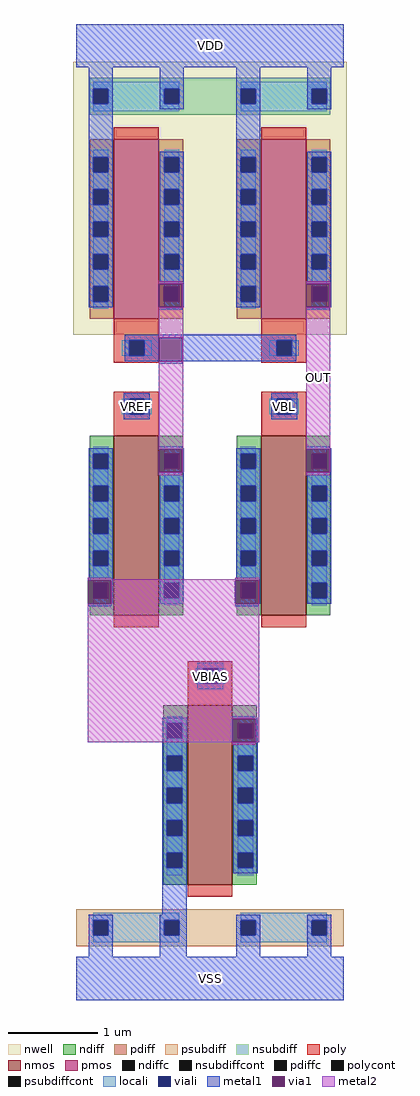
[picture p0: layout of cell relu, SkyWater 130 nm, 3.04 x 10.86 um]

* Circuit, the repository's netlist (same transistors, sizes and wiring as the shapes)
* ReLU 5T OTA Schematic Netlist (for LVS)
.subckt relu VBL VREF OUT VBIAS VDD VSS
XM3 node_A node_A VDD VDD sky130_fd_pr__pfet_01v8 L=0.5 W=2 nf=1 mult=1
XM4 OUT node_A VDD VDD sky130_fd_pr__pfet_01v8 L=0.5 W=2 nf=1 mult=1
XM1 node_A VREF TAIL VSS sky130_fd_pr__nfet_01v8 L=0.5 W=2 nf=1 mult=1
XM2 OUT VBL TAIL VSS sky130_fd_pr__nfet_01v8 L=0.5 W=2 nf=1 mult=1
XM5 TAIL VBIAS VSS VSS sky130_fd_pr__nfet_01v8 L=0.5 W=2 nf=1 mult=1
.ends relu

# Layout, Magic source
magic
tech sky130B
<< nwell >>
rect -3 740 301 1044
<< nmos >>
rect 42 428 92 628
rect 206 428 256 628
rect 124 128 174 328
<< pmos >>
rect 42 758 92 958
rect 206 758 256 958
<< ndiff >>
rect 15 608 42 628
rect 15 591 19 608
rect 36 591 42 608
rect 15 572 42 591
rect 15 555 19 572
rect 36 555 42 572
rect 15 536 42 555
rect 15 519 19 536
rect 36 519 42 536
rect 15 500 42 519
rect 15 483 19 500
rect 36 483 42 500
rect 15 464 42 483
rect 15 447 19 464
rect 36 447 42 464
rect 15 428 42 447
rect 92 608 119 628
rect 92 591 98 608
rect 115 591 119 608
rect 92 572 119 591
rect 92 555 98 572
rect 115 555 119 572
rect 92 536 119 555
rect 92 519 98 536
rect 115 519 119 536
rect 92 500 119 519
rect 92 483 98 500
rect 115 483 119 500
rect 92 464 119 483
rect 92 447 98 464
rect 115 447 119 464
rect 92 428 119 447
rect 179 608 206 628
rect 179 591 183 608
rect 200 591 206 608
rect 179 572 206 591
rect 179 555 183 572
rect 200 555 206 572
rect 179 536 206 555
rect 179 519 183 536
rect 200 519 206 536
rect 179 500 206 519
rect 179 483 183 500
rect 200 483 206 500
rect 179 464 206 483
rect 179 447 183 464
rect 200 447 206 464
rect 179 428 206 447
rect 256 608 283 628
rect 256 591 262 608
rect 279 591 283 608
rect 256 572 283 591
rect 256 555 262 572
rect 279 555 283 572
rect 256 536 283 555
rect 256 519 262 536
rect 279 519 283 536
rect 256 500 283 519
rect 256 483 262 500
rect 279 483 283 500
rect 256 464 283 483
rect 256 447 262 464
rect 279 447 283 464
rect 256 428 283 447
rect 97 308 124 328
rect 97 291 101 308
rect 118 291 124 308
rect 97 272 124 291
rect 97 255 101 272
rect 118 255 124 272
rect 97 236 124 255
rect 97 219 101 236
rect 118 219 124 236
rect 97 200 124 219
rect 97 183 101 200
rect 118 183 124 200
rect 97 164 124 183
rect 97 147 101 164
rect 118 147 124 164
rect 97 128 124 147
rect 174 308 201 328
rect 174 291 180 308
rect 197 291 201 308
rect 174 272 201 291
rect 174 255 180 272
rect 197 255 201 272
rect 174 236 201 255
rect 174 219 180 236
rect 197 219 201 236
rect 174 200 201 219
rect 174 183 180 200
rect 197 183 201 200
rect 174 164 201 183
rect 174 147 180 164
rect 197 147 201 164
rect 174 128 201 147
<< pdiff >>
rect 15 938 42 958
rect 15 921 19 938
rect 36 921 42 938
rect 15 902 42 921
rect 15 885 19 902
rect 36 885 42 902
rect 15 866 42 885
rect 15 849 19 866
rect 36 849 42 866
rect 15 830 42 849
rect 15 813 19 830
rect 36 813 42 830
rect 15 794 42 813
rect 15 777 19 794
rect 36 777 42 794
rect 15 758 42 777
rect 92 938 119 958
rect 92 921 98 938
rect 115 921 119 938
rect 92 902 119 921
rect 92 885 98 902
rect 115 885 119 902
rect 92 866 119 885
rect 92 849 98 866
rect 115 849 119 866
rect 92 830 119 849
rect 92 813 98 830
rect 115 813 119 830
rect 92 794 119 813
rect 92 777 98 794
rect 115 777 119 794
rect 92 758 119 777
rect 179 938 206 958
rect 179 921 183 938
rect 200 921 206 938
rect 179 902 206 921
rect 179 885 183 902
rect 200 885 206 902
rect 179 866 206 885
rect 179 849 183 866
rect 200 849 206 866
rect 179 830 206 849
rect 179 813 183 830
rect 200 813 206 830
rect 179 794 206 813
rect 179 777 183 794
rect 200 777 206 794
rect 179 758 206 777
rect 256 938 283 958
rect 256 921 262 938
rect 279 921 283 938
rect 256 902 283 921
rect 256 885 262 902
rect 279 885 283 902
rect 256 866 283 885
rect 256 849 262 866
rect 279 849 283 866
rect 256 830 283 849
rect 256 813 262 830
rect 279 813 283 830
rect 256 794 283 813
rect 256 777 262 794
rect 279 777 283 794
rect 256 758 283 777
<< ndiffc >>
rect 19 591 36 608
rect 19 555 36 572
rect 19 519 36 536
rect 19 483 36 500
rect 19 447 36 464
rect 98 591 115 608
rect 98 555 115 572
rect 98 519 115 536
rect 98 483 115 500
rect 98 447 115 464
rect 183 591 200 608
rect 183 555 200 572
rect 183 519 200 536
rect 183 483 200 500
rect 183 447 200 464
rect 262 591 279 608
rect 262 555 279 572
rect 262 519 279 536
rect 262 483 279 500
rect 262 447 279 464
rect 101 291 118 308
rect 101 255 118 272
rect 101 219 118 236
rect 101 183 118 200
rect 101 147 118 164
rect 180 291 197 308
rect 180 255 197 272
rect 180 219 197 236
rect 180 183 197 200
rect 180 147 197 164
<< pdiffc >>
rect 19 921 36 938
rect 19 885 36 902
rect 19 849 36 866
rect 19 813 36 830
rect 19 777 36 794
rect 98 921 115 938
rect 98 885 115 902
rect 98 849 115 866
rect 98 813 115 830
rect 98 777 115 794
rect 183 921 200 938
rect 183 885 200 902
rect 183 849 200 866
rect 183 813 200 830
rect 183 777 200 794
rect 262 921 279 938
rect 262 885 279 902
rect 262 849 279 866
rect 262 813 279 830
rect 262 777 279 794
<< psubdiff >>
rect 0 89 298 101
rect 0 72 19 89
rect 36 72 98 89
rect 115 72 183 89
rect 200 72 262 89
rect 279 72 298 89
rect 0 60 298 72
<< nsubdiff >>
rect 15 1014 283 1026
rect 15 997 19 1014
rect 36 997 98 1014
rect 115 997 183 1014
rect 200 997 262 1014
rect 279 997 283 1014
rect 15 985 283 997
<< psubdiffcont >>
rect 19 72 36 89
rect 98 72 115 89
rect 183 72 200 89
rect 262 72 279 89
<< nsubdiffcont >>
rect 19 997 36 1014
rect 98 997 115 1014
rect 183 997 200 1014
rect 262 997 279 1014
<< poly >>
rect 42 958 92 971
rect 206 958 256 971
rect 42 734 92 758
rect 42 717 59 734
rect 76 717 92 734
rect 42 709 92 717
rect 206 734 256 758
rect 206 717 223 734
rect 240 717 256 734
rect 206 709 256 717
rect 42 669 92 677
rect 42 652 59 669
rect 76 652 92 669
rect 42 628 92 652
rect 206 669 256 677
rect 206 652 223 669
rect 240 652 256 669
rect 206 628 256 652
rect 42 415 92 428
rect 206 415 256 428
rect 124 369 174 377
rect 124 352 141 369
rect 158 352 174 369
rect 124 328 174 352
rect 124 115 174 128
<< polycont >>
rect 59 717 76 734
rect 223 717 240 734
rect 59 652 76 669
rect 223 652 240 669
rect 141 352 158 369
<< locali >>
rect 19 1014 115 1022
rect 36 997 98 1014
rect 19 989 115 997
rect 183 1014 279 1022
rect 200 997 262 1014
rect 183 989 279 997
rect 19 938 36 946
rect 19 902 36 921
rect 19 866 36 885
rect 19 830 36 849
rect 19 794 36 813
rect 19 769 36 777
rect 98 938 115 946
rect 98 902 115 921
rect 98 866 115 885
rect 98 830 115 849
rect 98 794 115 813
rect 98 769 115 777
rect 183 938 200 946
rect 183 902 200 921
rect 183 866 200 885
rect 183 830 200 849
rect 183 794 200 813
rect 183 769 200 777
rect 262 938 279 946
rect 262 902 279 921
rect 262 866 279 885
rect 262 830 279 849
rect 262 794 279 813
rect 262 769 279 777
rect 51 717 59 734
rect 76 717 84 734
rect 215 717 223 734
rect 240 717 248 734
rect 51 652 59 669
rect 76 652 84 669
rect 215 652 223 669
rect 240 652 248 669
rect 19 608 36 616
rect 19 572 36 591
rect 19 536 36 555
rect 19 500 36 519
rect 19 464 36 483
rect 19 439 36 447
rect 98 608 115 616
rect 98 572 115 591
rect 98 536 115 555
rect 98 500 115 519
rect 98 464 115 483
rect 98 439 115 447
rect 183 608 200 616
rect 183 572 200 591
rect 183 536 200 555
rect 183 500 200 519
rect 183 464 200 483
rect 183 439 200 447
rect 262 608 279 616
rect 262 572 279 591
rect 262 536 279 555
rect 262 500 279 519
rect 262 464 279 483
rect 262 439 279 447
rect 133 352 141 369
rect 158 352 166 369
rect 101 308 118 316
rect 101 272 118 291
rect 101 236 118 255
rect 101 200 118 219
rect 101 164 118 183
rect 101 139 118 147
rect 180 308 197 316
rect 180 272 197 291
rect 180 236 197 255
rect 180 200 197 219
rect 180 164 197 183
rect 180 139 197 147
rect 19 89 115 97
rect 36 72 98 89
rect 19 64 115 72
rect 183 89 279 97
rect 200 72 262 89
rect 183 64 279 72
<< viali >>
rect 19 997 36 1014
rect 98 997 115 1014
rect 183 997 200 1014
rect 262 997 279 1014
rect 19 921 36 938
rect 19 885 36 902
rect 19 849 36 866
rect 19 813 36 830
rect 19 777 36 794
rect 98 921 115 938
rect 98 885 115 902
rect 98 849 115 866
rect 98 813 115 830
rect 98 777 115 794
rect 183 921 200 938
rect 183 885 200 902
rect 183 849 200 866
rect 183 813 200 830
rect 183 777 200 794
rect 262 921 279 938
rect 262 885 279 902
rect 262 849 279 866
rect 262 813 279 830
rect 262 777 279 794
rect 59 717 76 734
rect 223 717 240 734
rect 59 652 76 669
rect 223 652 240 669
rect 19 591 36 608
rect 19 555 36 572
rect 19 519 36 536
rect 19 483 36 500
rect 19 447 36 464
rect 98 591 115 608
rect 98 555 115 572
rect 98 519 115 536
rect 98 483 115 500
rect 98 447 115 464
rect 183 591 200 608
rect 183 555 200 572
rect 183 519 200 536
rect 183 483 200 500
rect 183 447 200 464
rect 262 591 279 608
rect 262 555 279 572
rect 262 519 279 536
rect 262 483 279 500
rect 262 447 279 464
rect 141 352 158 369
rect 101 291 118 308
rect 101 255 118 272
rect 101 219 118 236
rect 101 183 118 200
rect 101 147 118 164
rect 180 291 197 308
rect 180 255 197 272
rect 180 219 197 236
rect 180 183 197 200
rect 180 147 197 164
rect 19 72 36 89
rect 98 72 115 89
rect 183 72 200 89
rect 262 72 279 89
<< metal1 >>
rect 0 1038 298 1086
rect 14 1014 41 1038
rect 14 997 19 1014
rect 36 997 41 1014
rect 14 938 41 997
rect 93 1014 120 1038
rect 93 997 98 1014
rect 115 997 120 1014
rect 93 991 120 997
rect 178 1014 205 1038
rect 178 997 183 1014
rect 200 997 205 1014
rect 14 921 19 938
rect 36 921 41 938
rect 14 902 41 921
rect 14 885 19 902
rect 36 885 41 902
rect 14 866 41 885
rect 14 849 19 866
rect 36 849 41 866
rect 14 830 41 849
rect 14 813 19 830
rect 36 813 41 830
rect 14 794 41 813
rect 93 938 120 944
rect 93 921 98 938
rect 115 921 120 938
rect 93 902 120 921
rect 93 885 98 902
rect 115 885 120 902
rect 93 866 120 885
rect 93 849 98 866
rect 115 849 120 866
rect 93 830 120 849
rect 93 813 98 830
rect 115 813 120 830
rect 93 800 120 813
rect 14 777 19 794
rect 36 777 41 794
rect 14 771 41 777
rect 92 797 120 800
rect 118 771 120 797
rect 178 938 205 997
rect 257 1014 284 1038
rect 257 997 262 1014
rect 279 997 284 1014
rect 257 991 284 997
rect 178 921 183 938
rect 200 921 205 938
rect 178 902 205 921
rect 178 885 183 902
rect 200 885 205 902
rect 178 866 205 885
rect 178 849 183 866
rect 200 849 205 866
rect 178 830 205 849
rect 178 813 183 830
rect 200 813 205 830
rect 178 794 205 813
rect 257 938 284 944
rect 257 921 262 938
rect 279 921 284 938
rect 257 902 284 921
rect 257 885 262 902
rect 279 885 284 902
rect 257 866 284 885
rect 257 849 262 866
rect 279 849 284 866
rect 257 830 284 849
rect 257 813 262 830
rect 279 813 284 830
rect 257 800 284 813
rect 178 777 183 794
rect 200 777 205 794
rect 178 771 205 777
rect 256 797 284 800
rect 282 771 284 797
rect 92 768 118 771
rect 256 768 282 771
rect 54 737 245 740
rect 54 734 92 737
rect 54 717 59 734
rect 76 717 92 734
rect 54 711 92 717
rect 118 734 245 737
rect 118 717 223 734
rect 240 717 245 734
rect 118 711 245 717
rect 92 708 118 711
rect 53 669 82 675
rect 53 652 59 669
rect 76 652 82 669
rect 53 646 82 652
rect 217 669 246 675
rect 217 652 223 669
rect 240 652 246 669
rect 217 646 246 652
rect 92 614 118 616
rect 256 614 282 616
rect 14 608 41 614
rect 14 591 19 608
rect 36 591 41 608
rect 14 572 41 591
rect 92 613 120 614
rect 118 587 120 613
rect 92 584 120 587
rect 14 555 19 572
rect 36 555 41 572
rect 14 536 41 555
rect 14 519 19 536
rect 36 519 41 536
rect 14 500 41 519
rect 14 483 19 500
rect 36 483 41 500
rect 14 470 41 483
rect 13 467 41 470
rect 39 441 41 467
rect 93 572 120 584
rect 93 555 98 572
rect 115 555 120 572
rect 93 536 120 555
rect 93 519 98 536
rect 115 519 120 536
rect 93 500 120 519
rect 93 483 98 500
rect 115 483 120 500
rect 93 464 120 483
rect 178 608 205 614
rect 178 591 183 608
rect 200 591 205 608
rect 178 572 205 591
rect 256 613 284 614
rect 282 587 284 613
rect 256 584 284 587
rect 178 555 183 572
rect 200 555 205 572
rect 178 536 205 555
rect 178 519 183 536
rect 200 519 205 536
rect 178 500 205 519
rect 178 483 183 500
rect 200 483 205 500
rect 178 470 205 483
rect 93 447 98 464
rect 115 447 120 464
rect 93 441 120 447
rect 177 467 205 470
rect 203 441 205 467
rect 257 572 284 584
rect 257 555 262 572
rect 279 555 284 572
rect 257 536 284 555
rect 257 519 262 536
rect 279 519 284 536
rect 257 500 284 519
rect 257 483 262 500
rect 279 483 284 500
rect 257 464 284 483
rect 257 447 262 464
rect 279 447 284 464
rect 257 441 284 447
rect 13 438 39 441
rect 177 438 203 441
rect 135 369 164 375
rect 135 352 141 369
rect 158 352 164 369
rect 135 346 164 352
rect 174 314 200 316
rect 96 308 123 314
rect 96 291 101 308
rect 118 291 123 308
rect 96 272 123 291
rect 174 313 202 314
rect 200 287 202 313
rect 174 284 202 287
rect 96 255 101 272
rect 118 255 123 272
rect 96 236 123 255
rect 96 219 101 236
rect 118 219 123 236
rect 96 200 123 219
rect 96 183 101 200
rect 118 183 123 200
rect 96 164 123 183
rect 96 147 101 164
rect 118 147 123 164
rect 96 95 123 147
rect 175 272 202 284
rect 175 255 180 272
rect 197 255 202 272
rect 175 236 202 255
rect 175 219 180 236
rect 197 219 202 236
rect 175 200 202 219
rect 175 183 180 200
rect 197 183 202 200
rect 175 164 202 183
rect 175 147 180 164
rect 197 147 202 164
rect 175 141 202 147
rect 14 89 41 95
rect 14 72 19 89
rect 36 72 41 89
rect 14 48 41 72
rect 93 89 123 95
rect 93 72 98 89
rect 115 72 123 89
rect 93 48 123 72
rect 178 89 205 95
rect 178 72 183 89
rect 200 72 205 89
rect 178 48 205 72
rect 257 89 284 95
rect 257 72 262 89
rect 279 72 284 89
rect 257 48 284 72
rect 0 0 298 48
<< via1 >>
rect 92 794 118 797
rect 92 777 98 794
rect 98 777 115 794
rect 115 777 118 794
rect 92 771 118 777
rect 256 794 282 797
rect 256 777 262 794
rect 262 777 279 794
rect 279 777 282 794
rect 256 771 282 777
rect 92 711 118 737
rect 92 608 118 613
rect 92 591 98 608
rect 98 591 115 608
rect 115 591 118 608
rect 92 587 118 591
rect 13 464 39 467
rect 13 447 19 464
rect 19 447 36 464
rect 36 447 39 464
rect 13 441 39 447
rect 256 608 282 613
rect 256 591 262 608
rect 262 591 279 608
rect 279 591 282 608
rect 256 587 282 591
rect 177 464 203 467
rect 177 447 183 464
rect 183 447 200 464
rect 200 447 203 464
rect 177 441 203 447
rect 174 308 200 313
rect 174 291 180 308
rect 180 291 197 308
rect 197 291 200 308
rect 174 287 200 291
<< metal2 >>
rect 92 798 118 800
rect 256 798 282 800
rect 92 797 119 798
rect 118 771 119 797
rect 92 737 119 771
rect 118 711 119 737
rect 92 613 119 711
rect 118 587 119 613
rect 256 797 283 798
rect 282 771 283 797
rect 256 613 283 771
rect 282 587 283 613
rect 92 584 118 587
rect 256 584 282 587
rect 13 468 39 470
rect 177 468 203 470
rect 13 467 204 468
rect 39 441 177 467
rect 203 441 204 467
rect 13 313 204 441
rect 13 287 174 313
rect 200 287 204 313
rect 174 284 200 287
<< labels >>
rlabel metal1 217 646 246 675 5 VBL
port 1 s signal input
rlabel metal1 53 646 82 675 5 VREF
port 2 s signal input
rlabel metal2 256 587 283 798 5 OUT
port 3 s signal output
rlabel metal1 135 346 164 375 5 VBIAS
port 4 s signal input
rlabel metal1 0 1038 298 1086 5 VDD
port 5 s power bidirectional
rlabel metal1 0 0 298 48 5 VSS
port 6 s ground bidirectional
<< end >>
